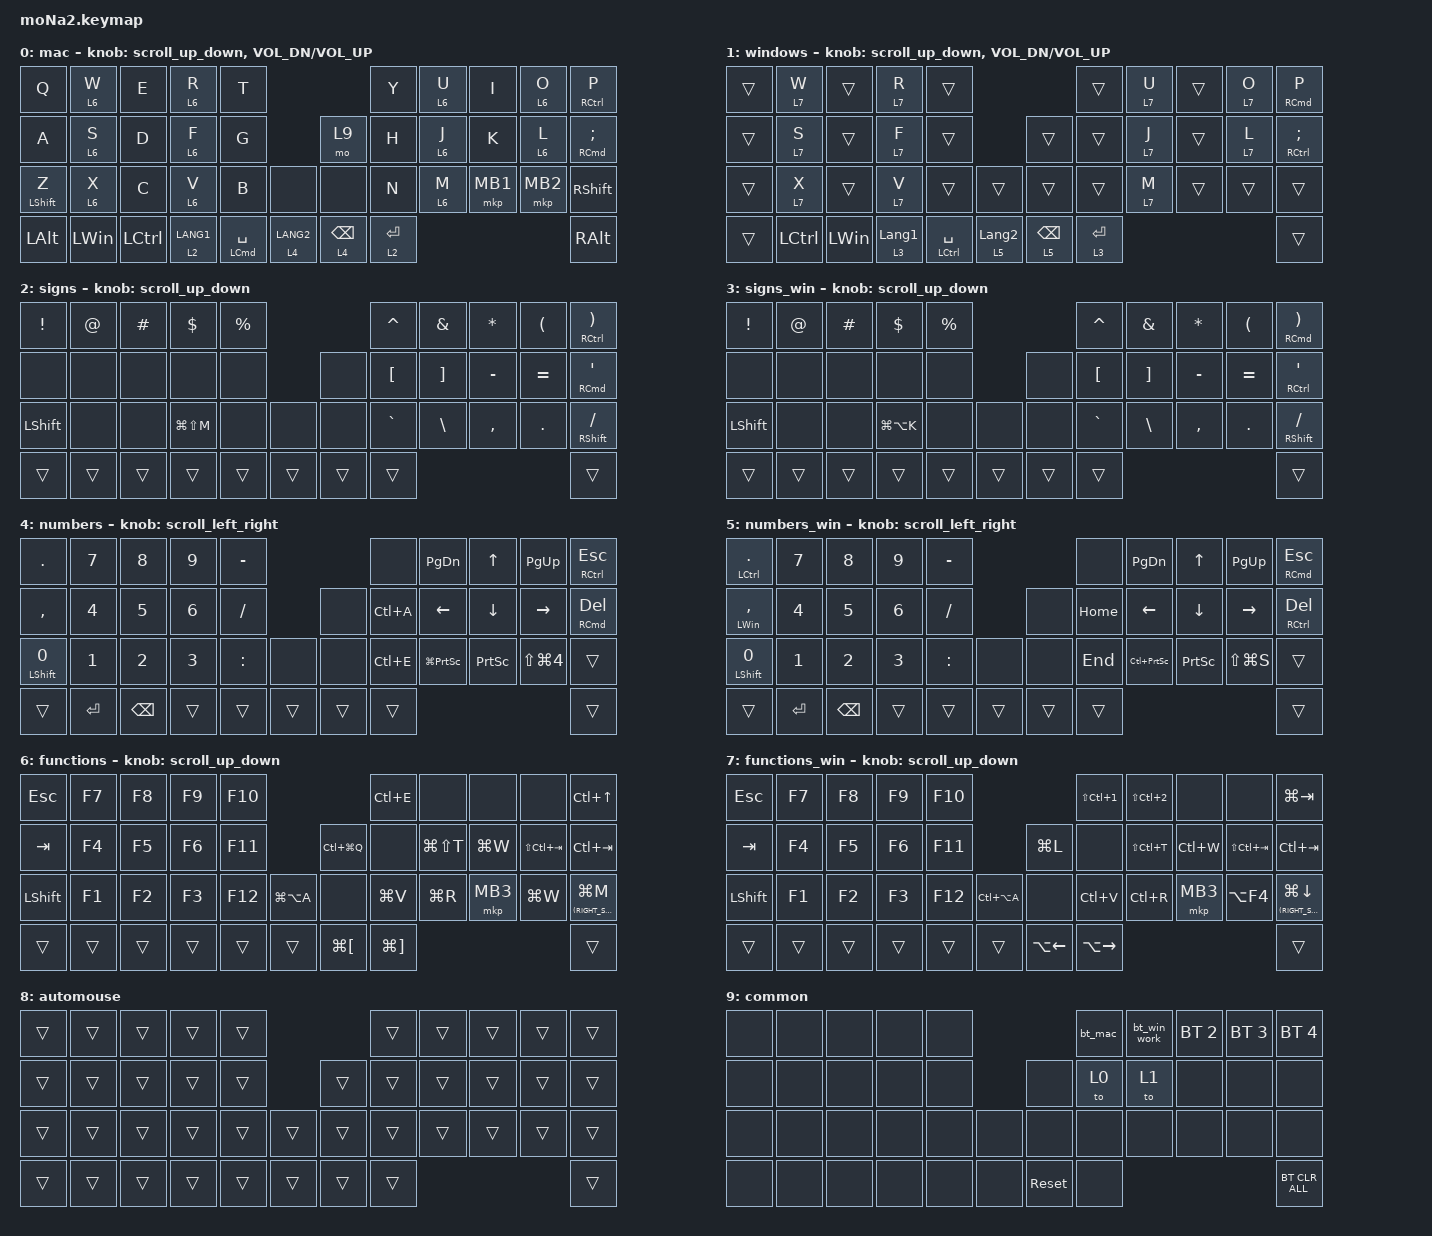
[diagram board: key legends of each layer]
#include <behaviors.dtsi>
#include <dt-bindings/zmk/bt.h>
#include <dt-bindings/zmk/keys.h>
#include <dt-bindings/zmk/pointing.h>

#define ZMK_POINTING_DEFAULT_SCRL_VAL 100
#define MOUSE 5
#define SCROLL 6

&mt {
    flavor = "balanced";
    quick-tap-ms = <0>;
};

&lt {
    tapping-term-ms = <300>;
    flavor = "tap-preferred";
    quick-tap-ms = <0>;
};

/ {
    combos { compatible = "zmk,combos"; };

    macros {
        // to_layer_0: to_layer_0 {
        //    compatible = "zmk,behavior-macro-one-param";
        //    #binding-cells = <1>;
        //    bindings = <&to 0 &macro_param_1to1 &kp MACRO_PLACEHOLDER>;
        //    label = "TO_LAYER_0";
        // };
        // Connect to BLE profile 0 (Mac) and switch to layer 0 (Mac layout)

        bt_mac: bt_profile_mac {
            compatible = "zmk,behavior-macro";
            #binding-cells = <0>;
            bindings = <&bt BT_SEL 0 &to 0>;
        };

        // Connect to BLE profile 1 (Windows for work) and switch to layer 1 (Windows layout)

        bt_win_work: bt_profile_win_work {
            compatible = "zmk,behavior-macro";
            #binding-cells = <0>;
            bindings = <&bt BT_SEL 1 &to 1>;
        };

        // Connect to BLE profile 2 (iPad mini) and switch to layer 0 (Mac layout)

        bt_ipadmini: bt_profile_ipadmini {
            compatible = "zmk,behavior-macro";
            #binding-cells = <0>;
            bindings = <&bt BT_SEL 2 &to 0>;
        };
    };

    behaviors {
        // lt_to_layer_0: lt_to_layer_0 {
        //    compatible = "zmk,behavior-hold-tap";
        //    label = "LAYER_TAP_TO_0";
        //    bindings = <&mo>, <&to_layer_0>;
        //
        //    #binding-cells = <2>;
        //    tapping-term-ms = <200>;
        //};

        scroll_up_down: behavior_sensor_rotate_mouse_wheel_up_down {
            compatible = "zmk,behavior-sensor-rotate";
            #sensor-binding-cells = <0>;
            bindings = <&msc SCRL_UP>, <&msc SCRL_DOWN>;

            tap-ms = <20>;
        };

        scroll_left_right: behavior_sensor_rotate_mouse_wh {
            compatible = "zmk,behavior-sensor-rotate";
            #sensor-binding-cells = <0>;
            bindings = <&msc SCRL_LEFT>, <&msc SCRL_RIGHT>;

            tap-ms = <20>;
        };
    };

    keymap {
        compatible = "zmk,keymap";

        mac {
            bindings = <
&kp Q             &lt 6 W       &kp E      &lt 6 R      &kp T                                                   &kp Y        &lt 6 U  &kp I     &lt 6 O   &mt RIGHT_CONTROL P
&kp A             &lt 6 S       &kp D      &lt 6 F      &kp G                                  &mo 9            &kp H        &lt 6 J  &kp K     &lt 6 L   &mt RIGHT_COMMAND SEMI
&mt LEFT_SHIFT Z  &lt 6 X       &kp C      &lt 6 V      &kp B                   &none          &none            &kp N        &lt 6 M  &mkp MB1  &mkp MB2  &kp RIGHT_SHIFT
&kp LEFT_ALT      &kp LEFT_WIN  &kp LCTRL  &lt 2 LANG1  &mt LEFT_COMMAND SPACE  &lt 4 LANG2    &lt 4 BACKSPACE  &lt 2 ENTER                               &kp RIGHT_ALT
            >;

            sensor-bindings =
                <&scroll_up_down>,
                <&inc_dec_kp C_VOL_DN C_VOL_UP>;
        };

        windows {
            bindings = <
&trans  &lt 7 W    &trans        &lt 7 R           &trans                                                &trans       &lt 7 U  &trans  &lt 7 O  &mt RIGHT_COMMAND P
&trans  &lt 7 S    &trans        &lt 7 F           &trans                               &trans           &trans       &lt 7 J  &trans  &lt 7 L  &mt RIGHT_CONTROL SEMICOLON
&trans  &lt 7 X    &trans        &lt 7 V           &trans           &trans              &trans           &trans       &lt 7 M  &trans  &trans   &trans
&trans  &kp LCTRL  &kp LEFT_WIN  &lt 3 LANGUAGE_1  &mt LCTRL SPACE  &lt 5 LANGUAGE_2    &lt 5 BACKSPACE  &lt 3 ENTER                            &trans
            >;

            sensor-bindings =
                <&scroll_up_down>,
                <&inc_dec_kp C_VOL_DN C_VOL_UP>;
        };

        signs {
            bindings = <
&kp EXCLAMATION  &kp AT_SIGN  &kp HASH  &kp DOLLAR     &kp PERCENT                    &kp CARET         &kp AMPERSAND      &kp ASTERISK  &kp LEFT_PARENTHESIS  &mt RIGHT_CONTROL RIGHT_PARENTHESIS
&none            &none        &none     &none          &none                  &none   &kp LEFT_BRACKET  &kp RIGHT_BRACKET  &kp MINUS     &kp EQUAL             &mt RIGHT_COMMAND SQT
&kp LEFT_SHIFT   &none        &none     &kp LG(LS(M))  &none        &none     &none   &kp GRAVE         &kp BACKSLASH      &kp COMMA     &kp PERIOD            &mt RIGHT_SHIFT SLASH
&trans           &trans       &trans    &trans         &trans       &trans    &trans  &trans                                                                   &trans
            >;

            sensor-bindings = <&scroll_up_down>;
        };

        signs_win {
            bindings = <
&kp EXCLAMATION  &kp AT_SIGN  &kp HASH  &kp DOLLAR     &kp PERCENT                    &kp CARET         &kp AMPERSAND      &kp ASTERISK  &kp LEFT_PARENTHESIS  &mt RIGHT_COMMAND RIGHT_PARENTHESIS
&none            &none        &none     &none          &none                  &none   &kp LEFT_BRACKET  &kp RIGHT_BRACKET  &kp MINUS     &kp EQUAL             &mt RIGHT_CONTROL SQT
&kp LEFT_SHIFT   &none        &none     &kp LG(LA(K))  &none        &none     &none   &kp GRAVE         &kp BACKSLASH      &kp COMMA     &kp PERIOD            &mt RIGHT_SHIFT SLASH
&trans           &trans       &trans    &trans         &trans       &trans    &trans  &trans                                                                   &trans
            >;

            sensor-bindings = <&scroll_up_down>;
        };

        numbers {
            bindings = <
&kp PERIOD               &kp NUMBER_7  &kp NUMBER_8   &kp NUMBER_9  &kp MINUS                    &none      &kp PAGE_DOWN        &kp UP_ARROW     &kp PAGE_UP           &mt RIGHT_CONTROL ESCAPE
&kp COMMA                &kp NUMBER_4  &kp NUMBER_5   &kp NUMBER_6  &kp SLASH            &none   &kp LC(A)  &kp LEFT             &kp DOWN         &kp RIGHT             &mt RIGHT_COMMAND DELETE
&mt LEFT_SHIFT NUMBER_0  &kp NUMBER_1  &kp NUMBER_2   &kp NUMBER_3  &kp COLON  &none     &none   &kp LC(E)  &kp LG(PRINTSCREEN)  &kp PRINTSCREEN  &kp LS(LG(NUMBER_4))  &trans
&trans                   &kp ENTER     &kp BACKSPACE  &trans        &trans     &trans    &trans  &trans                                                                 &trans
            >;

            sensor-bindings = <&scroll_left_right>;
        };

        numbers_win {
            bindings = <
&mt LCTRL PERIOD         &kp NUMBER_7  &kp NUMBER_8   &kp NUMBER_9  &kp MINUS                    &none     &kp PAGE_DOWN        &kp UP_ARROW     &kp PAGE_UP    &mt RIGHT_COMMAND ESCAPE
&mt LEFT_WIN COMMA       &kp NUMBER_4  &kp NUMBER_5   &kp NUMBER_6  &kp SLASH            &none   &kp HOME  &kp LEFT             &kp DOWN         &kp RIGHT      &mt RIGHT_CONTROL DELETE
&mt LEFT_SHIFT NUMBER_0  &kp NUMBER_1  &kp NUMBER_2   &kp NUMBER_3  &kp COLON  &none     &none   &kp END   &kp LC(PRINTSCREEN)  &kp PRINTSCREEN  &kp LS(LG(S))  &trans
&trans                   &kp ENTER     &kp BACKSPACE  &trans        &trans     &trans    &trans  &trans                                                         &trans
            >;

            sensor-bindings = <&scroll_left_right>;
        };

        functions {
            bindings = <
&kp ESCAPE      &kp F7  &kp F8  &kp F9  &kp F10                                         &kp LC(E)              &none          &none      &none            &kp LC(UP_ARROW)
&kp TAB         &kp F4  &kp F5  &kp F6  &kp F11                   &kp LC(LG(Q))         &none                  &kp LG(LS(T))  &kp LG(W)  &kp LS(LC(TAB))  &kp LC(TAB)
&kp LEFT_SHIFT  &kp F1  &kp F2  &kp F3  &kp F12  &kp LG(LA(A))    &none                 &kp LG(V)              &kp LG(R)      &mkp MB3   &kp LG(W)        &mt (RIGHT_SHIFT) LG(M)
&trans          &trans  &trans  &trans  &trans   &trans           &kp LG(LEFT_BRACKET)  &kp LG(RIGHT_BRACKET)                                             &trans
            >;

            sensor-bindings = <&scroll_up_down>;
        };

        functions_win {
            bindings = <
&kp ESCAPE      &kp F7  &kp F8  &kp F9  &kp F10                                 &kp LS(LC(NUMBER_1))  &kp LS(LC(NUMBER_2))  &none      &none            &kp LG(TAB)
&kp TAB         &kp F4  &kp F5  &kp F6  &kp F11                   &kp LG(L)     &none                 &kp LS(LC(T))         &kp LC(W)  &kp LS(LC(TAB))  &kp LC(TAB)
&kp LEFT_SHIFT  &kp F1  &kp F2  &kp F3  &kp F12  &kp LC(LA(A))    &none         &kp LC(V)             &kp LC(R)             &mkp MB3   &kp LA(F4)       &mt (RIGHT_SHIFT) LG(DOWN)
&trans          &trans  &trans  &trans  &trans   &trans           &kp LA(LEFT)  &kp LA(RIGHT)                                                           &trans
            >;

            sensor-bindings = <&scroll_up_down>;
        };

        automouse {
            bindings = <
&trans  &trans  &trans  &trans  &trans                    &trans  &trans  &trans  &trans  &trans
&trans  &trans  &trans  &trans  &trans            &trans  &trans  &trans  &trans  &trans  &trans
&trans  &trans  &trans  &trans  &trans  &trans    &trans  &trans  &trans  &trans  &trans  &trans
&trans  &trans  &trans  &trans  &trans  &trans    &trans  &trans                          &trans
            >;
        };

        common {
            bindings = <
&none  &none  &none  &none  &none                       &bt_mac  &bt_win_work  &bt BT_SEL 2  &bt BT_SEL 3  &bt BT_SEL 4
&none  &none  &none  &none  &none           &none       &to 0    &to 1         &none         &none         &none
&none  &none  &none  &none  &none  &none    &none       &none    &none         &none         &none         &none
&none  &none  &none  &none  &none  &none    &sys_reset  &none                                              &bt BT_CLR_ALL
            >;
        };
    };
};
